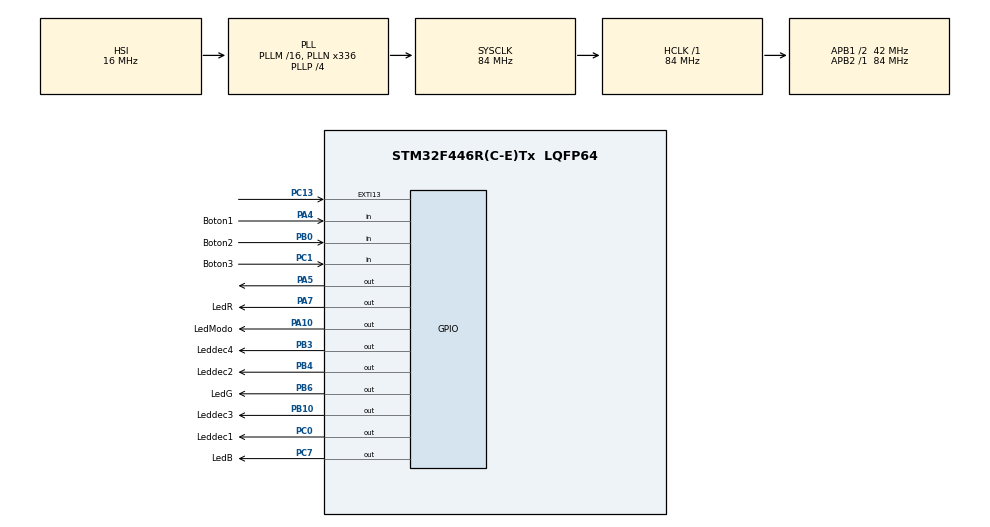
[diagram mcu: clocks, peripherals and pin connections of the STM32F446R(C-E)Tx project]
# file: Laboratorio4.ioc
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Mcu.Family=STM32F4
Mcu.Name=STM32F446R(C-E)Tx
Mcu.Package=LQFP64
NUCLEO-F446RE.BUTTON=1
NUCLEO-F446RE.LD1=true
NVIC.EXTI15_10_IRQn=true\:0\:0\:false\:false\:true\:false\:true\:true
NVIC.PriorityGroup=NVIC_PRIORITYGROUP_0
PA10.GPIO_Label=LedModo
PA10.Signal=GPIO_Output
PA13.GPIO_Label=TMS
PA13.Signal=SYS_JTMS-SWDIO
PA14.GPIO_Label=TCK
PA14.Signal=SYS_JTCK-SWCLK
PA2.GPIO_Label=USART_TX
PA2.Signal=USART2_TX
PA3.GPIO_Label=USART_RX
PA3.Signal=USART2_RX
PA4.GPIO_Label=Boton1
PA4.GPIO_PuPd=GPIO_PULLDOWN
PA4.Signal=GPIO_Input
PA5.Signal=GPIO_Output
PA7.GPIO_Label=LedR
PA7.GPIO_PuPd=GPIO_NOPULL
PA7.Signal=GPIO_Output
PB0.GPIO_Label=Boton2
PB0.GPIO_PuPd=GPIO_PULLDOWN
PB0.Signal=GPIO_Input
PB10.GPIO_Label=Leddec3
PB10.Signal=GPIO_Output
PB3.GPIO_Label=Leddec4
PB3.Signal=GPIO_Output
PB4.GPIO_Label=Leddec2
PB4.Signal=GPIO_Output
PB6.GPIO_Label=LedG
PB6.Signal=GPIO_Output
PC0.GPIO_Label=Leddec1
PC0.Signal=GPIO_Output
PC1.GPIO_Label=Boton3
PC1.GPIO_PuPd=GPIO_PULLDOWN
PC1.Signal=GPIO_Input
PC13.Signal=GPXTI13
PC14-OSC32_IN.Signal=RCC_OSC32_IN
PC15-OSC32_OUT.Signal=RCC_OSC32_OUT
PC7.GPIO_Label=LedB
PC7.Signal=GPIO_Output
PH0-OSC_IN.Signal=RCC_OSC_IN
PH1-OSC_OUT.Signal=RCC_OSC_OUT
ProjectManager.HeapSize=0x200
ProjectManager.StackSize=0x400
ProjectManager.TargetToolchain=STM32CubeIDE
RCC.AHBFreq_Value=84000000
RCC.APB1CLKDivider=RCC_HCLK_DIV2
RCC.APB1Freq_Value=42000000
RCC.APB1TimFreq_Value=84000000
RCC.APB2Freq_Value=84000000
RCC.APB2TimFreq_Value=84000000
RCC.CortexFreq_Value=84000000
RCC.FLatency-AdvancedSettings=FLASH_LATENCY_2
RCC.HCLKFreq_Value=84000000
RCC.HSE_VALUE=8000000
RCC.HSI_VALUE=16000000
RCC.LSE_VALUE=32768
RCC.PLLN=336
RCC.PLLP=RCC_PLLP_DIV4
RCC.SYSCLKFreq_VALUE=84000000
RCC.SYSCLKSource=RCC_SYSCLKSOURCE_PLLCLK
RCC.USBFreq_Value=168000000
RCC.VCOOutputFreq_Value=336000000
VP_NUCLEO-F446RE_VS_BSP_COMMON.Mode=COMMON
board=NUCLEO-F446RE

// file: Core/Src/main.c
/* USER CODE BEGIN Header */
/**
  ******************************************************************************
  * @file           : main.c
  * @brief          : Main program body
  ******************************************************************************
  * @attention
  *
  * Copyright (c) 2026 STMicroelectronics.
  * All rights reserved.
  *
  * This software is licensed under terms that can be found in the LICENSE file
  * in the root directory of this software component.
  * If no LICENSE file comes with this software, it is provided AS-IS.
  *
  ******************************************************************************
  */
/* USER CODE END Header */
#include "main.h"

/* USER CODE BEGIN PV */

  int contadorDecenas = 1;
  int contadorRGB = 1;
  int modo = 0;
  int estadoateriorsuma = 0;
  int estadoanteriorresta = 0;
  int estadoanteriormodo = 0;

/* USER CODE END PV */

void SystemClock_Config(void);
static void MX_GPIO_Init(void);

/* USER CODE BEGIN 0 */

void mododec() {

  int essuma = HAL_GPIO_ReadPin(Boton1_GPIO_Port, Boton1_Pin);
  int esresta = HAL_GPIO_ReadPin(Boton2_GPIO_Port, Boton2_Pin);

//antirebote para los dos botones en el circuito
  HAL_Delay(15);
  if (essuma == 0){
    estadoateriorsuma = 1;
  }
  if (essuma == 1 && estadoateriorsuma == 1){
    contadorDecenas++;

    if (contadorDecenas == 6){
      contadorDecenas = 1;
    }
    estadoateriorsuma = 0;
   HAL_Delay(15);

  }

  if (esresta == 0){
    estadoanteriorresta = 1;
  }
  if (esresta == 1 && estadoanteriorresta == 1){

    if (contadorDecenas == 0){
      contadorDecenas = 6;
    }
    else{
      contadorDecenas--;
    }
    estadoanteriorresta = 0;

    HAL_Delay(15);
  }

//switch case con el contador de decenas
  switch (contadorDecenas){
  case 1:
	  	HAL_GPIO_WritePin(Leddec1_GPIO_Port, Leddec1_Pin, 0);
	  	HAL_GPIO_WritePin(Leddec2_GPIO_Port, Leddec2_Pin, 0);
	  	HAL_GPIO_WritePin(Leddec3_GPIO_Port, Leddec3_Pin, 0);
	  	HAL_GPIO_WritePin(Leddec4_GPIO_Port, Leddec4_Pin, 0);

    break;
  case 2:
	    HAL_GPIO_WritePin(Leddec1_GPIO_Port, Leddec1_Pin, 1);
	    HAL_GPIO_WritePin(Leddec2_GPIO_Port, Leddec2_Pin, 0);
	    HAL_GPIO_WritePin(Leddec3_GPIO_Port, Leddec3_Pin, 0);
	    HAL_GPIO_WritePin(Leddec4_GPIO_Port, Leddec4_Pin, 0);
    break;
  case 3:
	    HAL_GPIO_WritePin(Leddec1_GPIO_Port, Leddec1_Pin, 0);
	    HAL_GPIO_WritePin(Leddec2_GPIO_Port, Leddec2_Pin, 1);
	    HAL_GPIO_WritePin(Leddec3_GPIO_Port, Leddec3_Pin, 0);
	    HAL_GPIO_WritePin(Leddec4_GPIO_Port, Leddec4_Pin, 0);
    break;
  case 4:
	    HAL_GPIO_WritePin(Leddec1_GPIO_Port, Leddec1_Pin, 0);
	    HAL_GPIO_WritePin(Leddec2_GPIO_Port, Leddec2_Pin, 0);
	    HAL_GPIO_WritePin(Leddec3_GPIO_Port, Leddec3_Pin, 1);
	    HAL_GPIO_WritePin(Leddec4_GPIO_Port, Leddec4_Pin, 0);
    break;
  case 5:
	    HAL_GPIO_WritePin(Leddec1_GPIO_Port, Leddec1_Pin, 0);
	    HAL_GPIO_WritePin(Leddec2_GPIO_Port, Leddec2_Pin, 0);
	    HAL_GPIO_WritePin(Leddec3_GPIO_Port, Leddec3_Pin, 0);
	    HAL_GPIO_WritePin(Leddec4_GPIO_Port, Leddec4_Pin, 1);
  }
}

void modoRGB(){
	 int essuma = HAL_GPIO_ReadPin(Boton1_GPIO_Port, Boton1_Pin);
	 int esresta = HAL_GPIO_ReadPin(Boton2_GPIO_Port, Boton2_Pin);

//dos antirebote para los botones en el circuito
  HAL_Delay(15);
  if (essuma == 0){
    estadoateriorsuma = 1;
  }
  if (essuma == 1 && estadoateriorsuma == 1){
    contadorRGB++;

    if (contadorRGB == 8){
      contadorRGB = 7;
    }
    estadoateriorsuma = 0;
    HAL_Delay(15);
  }

  if (esresta == 0){
    estadoanteriorresta = 1;
  }
  if (esresta == 1 && estadoanteriorresta == 1){

    if (contadorRGB == 0){
      contadorRGB = 1;
    }
    else{
      contadorRGB--;
    }
    estadoanteriorresta = 0;
    HAL_Delay(15);
  }

  //switch case con todos los números entre el 0-15
  switch (contadorRGB){
  case 1:
	    HAL_GPIO_WritePin(LedR_GPIO_Port, LedR_Pin, 0);
	    HAL_GPIO_WritePin(LedG_GPIO_Port, LedG_Pin, 0);
	    HAL_GPIO_WritePin(LedB_GPIO_Port, LedB_Pin, 0);

    break;
  case 2:
	    HAL_GPIO_WritePin(LedR_GPIO_Port, LedR_Pin, 1);
	    HAL_GPIO_WritePin(LedG_GPIO_Port, LedG_Pin, 0);
	    HAL_GPIO_WritePin(LedB_GPIO_Port, LedB_Pin, 0);

    break;
  case 3:
	    HAL_GPIO_WritePin(LedR_GPIO_Port, LedR_Pin, 1);
	    HAL_GPIO_WritePin(LedG_GPIO_Port, LedG_Pin, 0);
	    HAL_GPIO_WritePin(LedB_GPIO_Port, LedB_Pin, 1);

    break;
  case 4:
	    HAL_GPIO_WritePin(LedR_GPIO_Port, LedR_Pin, 0);
	    HAL_GPIO_WritePin(LedG_GPIO_Port, LedG_Pin, 0);
	    HAL_GPIO_WritePin(LedB_GPIO_Port, LedB_Pin, 1);

    break;
  case 5:
	    HAL_GPIO_WritePin(LedR_GPIO_Port, LedR_Pin, 0);
	    HAL_GPIO_WritePin(LedG_GPIO_Port, LedG_Pin, 1);
	    HAL_GPIO_WritePin(LedB_GPIO_Port, LedB_Pin, 1);

    break;
  case 6:
	    HAL_GPIO_WritePin(LedR_GPIO_Port, LedR_Pin, 0);
	    HAL_GPIO_WritePin(LedG_GPIO_Port, LedG_Pin, 1);
	    HAL_GPIO_WritePin(LedB_GPIO_Port, LedB_Pin, 0);

    break;
  case 7:
	    HAL_GPIO_WritePin(LedR_GPIO_Port, LedR_Pin, 1);
	    HAL_GPIO_WritePin(LedG_GPIO_Port, LedG_Pin, 1);
	    HAL_GPIO_WritePin(LedB_GPIO_Port, LedB_Pin, 0);

    break;
  }
}

/* USER CODE END 0 */

int main(void)
{

  /* MCU Configuration--------------------------------------------------------*/

  /* Reset of all peripherals, Initializes the Flash interface and the Systick. */
  HAL_Init();

  /* Configure the system clock */
  SystemClock_Config();

  /* Initialize all configured peripherals */
  MX_GPIO_Init();

  /* Initialize leds */
  BSP_LED_Init(LED2);

  /* Initialize USER push-button, will be used to trigger an interrupt each time it's pressed.*/
  BSP_PB_Init(BUTTON_USER, BUTTON_MODE_EXTI);

  /* Infinite loop */
  /* USER CODE BEGIN WHILE */
  while (1)
  {

	  int esmodo = HAL_GPIO_ReadPin(Boton3_GPIO_Port, Boton3_Pin);
	    HAL_Delay(15);

	  //anti rebote
	    if (esmodo == 1){
	      estadoanteriormodo = 1;
	    }
	    if (esmodo == 0 && estadoanteriormodo == 1){
	      modo++;

	      if (modo == 2){
	        modo = 0;
	      }

	      estadoanteriormodo = 0;
	      HAL_Delay(15);
	    }

	  //Esto es para el cambio sencillo entre ambos modos
	   switch (modo) {
	      case 0:
	        mododec();
		    HAL_GPIO_WritePin(LedModo_GPIO_Port, LedModo_Pin, 0);
		    HAL_GPIO_WritePin(LedR_GPIO_Port, LedR_Pin, 0);
		    HAL_GPIO_WritePin(LedG_GPIO_Port, LedG_Pin, 0);
		    HAL_GPIO_WritePin(LedB_GPIO_Port, LedB_Pin, 0);
	        break;
	      case 1:
	        modoRGB();
		    HAL_GPIO_WritePin(LedModo_GPIO_Port, LedModo_Pin, 1);
		    HAL_GPIO_WritePin(Leddec1_GPIO_Port, Leddec1_Pin, 0);
		    HAL_GPIO_WritePin(Leddec2_GPIO_Port, Leddec2_Pin, 0);
		    HAL_GPIO_WritePin(Leddec3_GPIO_Port, Leddec3_Pin, 0);
		    HAL_GPIO_WritePin(Leddec4_GPIO_Port, Leddec4_Pin, 0);

	        break;
	    }

    /* USER CODE END WHILE */

  }
}

void SystemClock_Config(void)
{
  RCC_OscInitTypeDef RCC_OscInitStruct = {0};
  RCC_ClkInitTypeDef RCC_ClkInitStruct = {0};

  /** Configure the main internal regulator output voltage
  */
  __HAL_RCC_PWR_CLK_ENABLE();
  __HAL_PWR_VOLTAGESCALING_CONFIG(PWR_REGULATOR_VOLTAGE_SCALE3);

  /** Initializes the RCC Oscillators according to the specified parameters
  * in the RCC_OscInitTypeDef structure.
  */
  RCC_OscInitStruct.OscillatorType = RCC_OSCILLATORTYPE_HSI;
  RCC_OscInitStruct.HSIState = RCC_HSI_ON;
  RCC_OscInitStruct.HSICalibrationValue = RCC_HSICALIBRATION_DEFAULT;
  RCC_OscInitStruct.PLL.PLLState = RCC_PLL_ON;
  RCC_OscInitStruct.PLL.PLLSource = RCC_PLLSOURCE_HSI;
  RCC_OscInitStruct.PLL.PLLM = 16;
  RCC_OscInitStruct.PLL.PLLN = 336;
  RCC_OscInitStruct.PLL.PLLP = RCC_PLLP_DIV4;
  RCC_OscInitStruct.PLL.PLLQ = 2;
  RCC_OscInitStruct.PLL.PLLR = 2;
  if (HAL_RCC_OscConfig(&RCC_OscInitStruct) != HAL_OK)
  {
    Error_Handler();
  }

  /** Initializes the CPU, AHB and APB buses clocks
  */
  RCC_ClkInitStruct.ClockType = RCC_CLOCKTYPE_HCLK|RCC_CLOCKTYPE_SYSCLK
                              |RCC_CLOCKTYPE_PCLK1|RCC_CLOCKTYPE_PCLK2;
  RCC_ClkInitStruct.SYSCLKSource = RCC_SYSCLKSOURCE_PLLCLK;
  RCC_ClkInitStruct.AHBCLKDivider = RCC_SYSCLK_DIV1;
  RCC_ClkInitStruct.APB1CLKDivider = RCC_HCLK_DIV2;
  RCC_ClkInitStruct.APB2CLKDivider = RCC_HCLK_DIV1;

  if (HAL_RCC_ClockConfig(&RCC_ClkInitStruct, FLASH_LATENCY_2) != HAL_OK)
  {
    Error_Handler();
  }
}

static void MX_GPIO_Init(void)
{
  GPIO_InitTypeDef GPIO_InitStruct = {0};

  /* GPIO Ports Clock Enable */
  __HAL_RCC_GPIOC_CLK_ENABLE();
  __HAL_RCC_GPIOH_CLK_ENABLE();
  __HAL_RCC_GPIOA_CLK_ENABLE();
  __HAL_RCC_GPIOB_CLK_ENABLE();

  /*Configure GPIO pin Output Level */
  HAL_GPIO_WritePin(GPIOC, Leddec1_Pin|LedB_Pin, GPIO_PIN_RESET);

  /*Configure GPIO pin Output Level */
  HAL_GPIO_WritePin(GPIOA, LedR_Pin|LedModo_Pin, GPIO_PIN_RESET);

  /*Configure GPIO pin Output Level */
  HAL_GPIO_WritePin(GPIOB, Leddec3_Pin|Leddec4_Pin|Leddec2_Pin|LedG_Pin, GPIO_PIN_RESET);

  /*Configure GPIO pins : Leddec1_Pin LedB_Pin */
  GPIO_InitStruct.Pin = Leddec1_Pin|LedB_Pin;
  GPIO_InitStruct.Mode = GPIO_MODE_OUTPUT_PP;
  GPIO_InitStruct.Pull = GPIO_NOPULL;
  GPIO_InitStruct.Speed = GPIO_SPEED_FREQ_LOW;
  HAL_GPIO_Init(GPIOC, &GPIO_InitStruct);

  /*Configure GPIO pin : Boton3_Pin */
  GPIO_InitStruct.Pin = Boton3_Pin;
  GPIO_InitStruct.Mode = GPIO_MODE_INPUT;
  GPIO_InitStruct.Pull = GPIO_PULLDOWN;
  HAL_GPIO_Init(Boton3_GPIO_Port, &GPIO_InitStruct);

  /*Configure GPIO pins : USART_TX_Pin USART_RX_Pin */
  GPIO_InitStruct.Pin = USART_TX_Pin|USART_RX_Pin;
  GPIO_InitStruct.Mode = GPIO_MODE_AF_PP;
  GPIO_InitStruct.Pull = GPIO_NOPULL;
  GPIO_InitStruct.Speed = GPIO_SPEED_FREQ_VERY_HIGH;
  GPIO_InitStruct.Alternate = GPIO_AF7_USART2;
  HAL_GPIO_Init(GPIOA, &GPIO_InitStruct);

  /*Configure GPIO pin : Boton1_Pin */
  GPIO_InitStruct.Pin = Boton1_Pin;
  GPIO_InitStruct.Mode = GPIO_MODE_INPUT;
  GPIO_InitStruct.Pull = GPIO_PULLDOWN;
  HAL_GPIO_Init(Boton1_GPIO_Port, &GPIO_InitStruct);

  /*Configure GPIO pins : LedR_Pin LedModo_Pin */
  GPIO_InitStruct.Pin = LedR_Pin|LedModo_Pin;
  GPIO_InitStruct.Mode = GPIO_MODE_OUTPUT_PP;
  GPIO_InitStruct.Pull = GPIO_NOPULL;
  GPIO_InitStruct.Speed = GPIO_SPEED_FREQ_LOW;
  HAL_GPIO_Init(GPIOA, &GPIO_InitStruct);

  /*Configure GPIO pin : Boton2_Pin */
  GPIO_InitStruct.Pin = Boton2_Pin;
  GPIO_InitStruct.Mode = GPIO_MODE_INPUT;
  GPIO_InitStruct.Pull = GPIO_PULLDOWN;
  HAL_GPIO_Init(Boton2_GPIO_Port, &GPIO_InitStruct);

  /*Configure GPIO pins : Leddec3_Pin Leddec4_Pin Leddec2_Pin LedG_Pin */
  GPIO_InitStruct.Pin = Leddec3_Pin|Leddec4_Pin|Leddec2_Pin|LedG_Pin;
  GPIO_InitStruct.Mode = GPIO_MODE_OUTPUT_PP;
  GPIO_InitStruct.Pull = GPIO_NOPULL;
  GPIO_InitStruct.Speed = GPIO_SPEED_FREQ_LOW;
  HAL_GPIO_Init(GPIOB, &GPIO_InitStruct);

}

void Error_Handler(void)
{
  __disable_irq();
  while (1)
  {
  }
}
